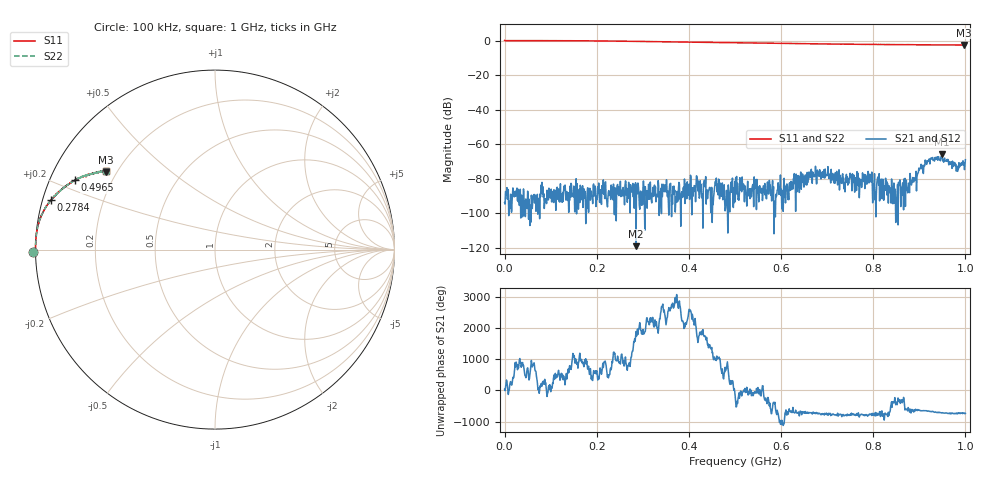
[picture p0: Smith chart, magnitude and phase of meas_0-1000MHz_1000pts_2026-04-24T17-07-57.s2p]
! Touchstone file generated by RF Tool Suite
# Hz S RI R 50
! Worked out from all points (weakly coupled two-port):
!   1000 points, 100 kHz to 1 GHz, reference 50 ohm
!   highest |S21| = -65.88 dB at 949 MHz (marker M1); lowest = -119.0 dB at 285.4 MHz (marker M2)
!   lowest |S11| = -2.6 dB at 996 MHz (marker M3), VSWR 6.80, Z = 8.08 + j15.6 ohm
!   |S11| at or under -10 dB: nowhere
!   |S22| runs from -2.6 to 0.1 dB; largest |S21 - S12| = 0
!   S11 on the Smith chart (normalised r, x): 100 kHz: -0.01, -0.01; 278.4 MHz: 0.02, +0.15; 496.5 MHz: 0.07, +0.23; 1 GHz: 0.16, +0.32
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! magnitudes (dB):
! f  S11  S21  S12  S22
! 100 kHz  0.1  -93.8  -93.8  0.1
! 167.3 MHz  -0.1  -88.2  -88.2  -0.1
! 278.4 MHz  -0.4  -82.7  -82.7  -0.4
! 285.4 MHz  -0.4  -119.0  -119.0  -0.4
! 333.4 MHz  -0.6  -81.0  -81.0  -0.6
! 496.5 MHz  -1.2  -96.6  -96.6  -1.2
! 500.6 MHz  -1.2  -93.2  -93.2  -1.2
! 622.7 MHz  -1.7  -86.3  -86.3  -1.7
! 654.7 MHz  -1.8  -79.5  -79.5  -1.8
! 666.7 MHz  -1.8  -79.3  -79.3  -1.8
! 697.7 MHz  -1.9  -78.2  -78.2  -1.9
! 733.8 MHz  -2.0  -77.1  -77.1  -2.0
! 774.8 MHz  -2.1  -85.0  -85.0  -2.1
! 787.8 MHz  -2.2  -77.9  -77.9  -2.2
! 833.9 MHz  -2.3  -84.0  -84.0  -2.3
! 886.9 MHz  -2.3  -81.0  -81.0  -2.3
! 916.9 MHz  -2.4  -69.5  -69.5  -2.4
! 928.9 MHz  -2.4  -67.6  -67.6  -2.4
! 949 MHz  -2.5  -65.9  -65.9  -2.5
! 983 MHz  -2.5  -75.7  -75.7  -2.5
! 996 MHz  -2.6  -72.0  -72.0  -2.6
! 1 GHz  -2.6  -68.9  -68.9  -2.6
